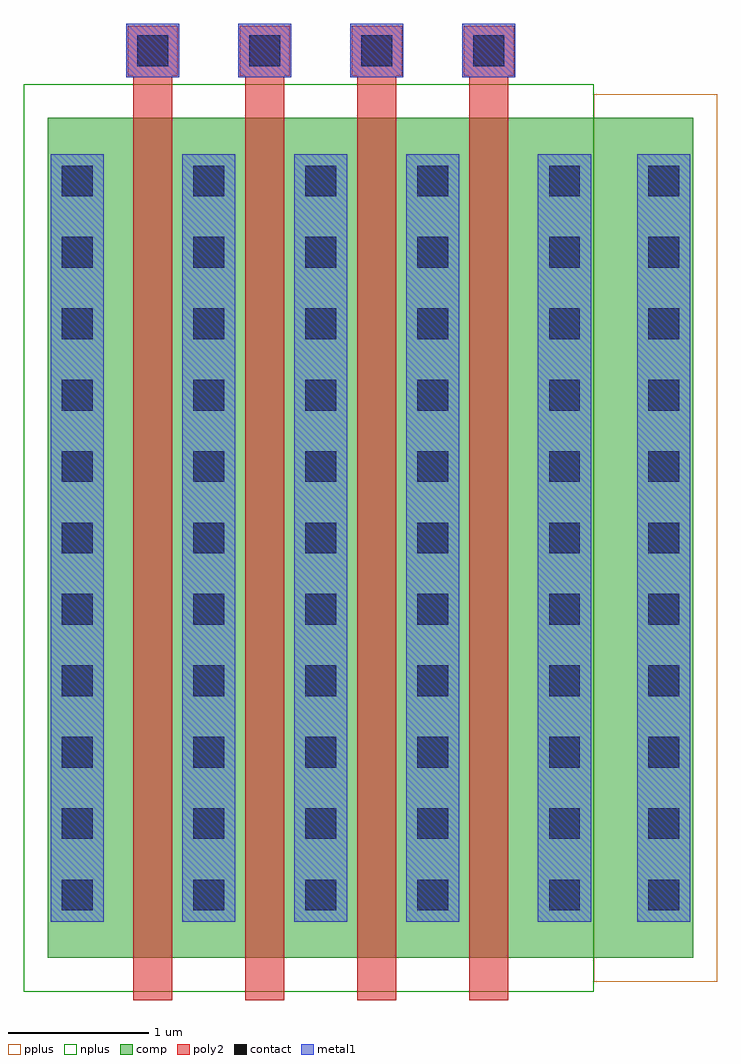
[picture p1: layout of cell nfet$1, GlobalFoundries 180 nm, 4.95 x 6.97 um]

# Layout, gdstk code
import gdstk
lib = gdstk.Library(unit=1e-6, precision=1e-09)
def R(c, l, rs):  # rectangles x0, y0, x1, y1
    for r in rs: c.add(gdstk.rectangle(r[:2], r[2:], *l))
def A(c, l, x, y, w, h, nx, ny, dx, dy):  # array of equal rectangles
    R(c, l, [(x+i*dx, y+j*dy, x+i*dx+w, y+j*dy+h) for i in range(nx) for j in range(ny)])
comp = (22, 0)
poly2 = (30, 0)
pplus = (31, 0)
nplus = (32, 0)
contact = (33, 0)
metal1 = (34, 0)

nfet_1 = lib.new_cell('nfet$1')
R(nfet_1, comp, [(-0.42,0,0,6), (0,0,3.06,6), (3.06,0,3.48,6), (3.48,0,4.19,6)])
A(nfet_1, poly2, 0.19, -0.3, 0.28, 6.6, 4, 1, 0.8, 0)
A(nfet_1, poly2, 0.15, 6.3, 0.36, 0.36, 4, 1, 0.8, 0)
R(nfet_1, pplus, [(3.48,-0.17,4.36,6.17)])
R(nfet_1, nplus, [(-0.59,-0.24,3.48,6.24)])
A(nfet_1, contact, -0.32, 0.34, 0.22, 0.22, 1, 11, 0, 0.51)
A(nfet_1, contact, 0.62, 0.34, 0.22, 0.22, 3, 11, 0.8, 0.51)
A(nfet_1, contact, 3.16, 0.34, 0.22, 0.22, 1, 11, 0, 0.51)
A(nfet_1, contact, 3.87, 0.34, 0.22, 0.22, 1, 11, 0, 0.51)
A(nfet_1, contact, 0.22, 6.37, 0.22, 0.22, 4, 1, 0.8, 0)
A(nfet_1, metal1, 0.54, 0.26, 0.38, 5.48, 3, 1, 0.8, 0)
A(nfet_1, metal1, 0.14, 6.289, 0.38, 0.382, 4, 1, 0.8, 0)
R(nfet_1, metal1, [(-0.4,0.26,-0.02,5.74), (3.08,0.26,3.46,5.74), (3.79,0.26,4.17,5.74)])

lib.write_gds('nfet_1.gds')
